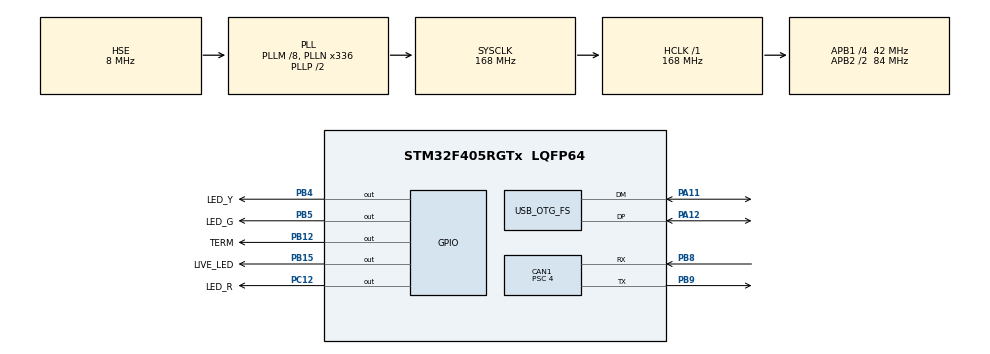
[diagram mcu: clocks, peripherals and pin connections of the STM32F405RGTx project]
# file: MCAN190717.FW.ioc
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CAN1.BS1=CAN_BS1_16TQ
CAN1.BS2=CAN_BS2_4TQ
CAN1.CalculateBaudRate=500000
CAN1.CalculateTimeBit=2000
CAN1.CalculateTimeQuantum=95.23809523809524
CAN1.Prescaler=4
CAN1.SJW=CAN_SJW_3TQ
Mcu.Family=STM32F4
Mcu.Name=STM32F405RGTx
Mcu.Package=LQFP64
NVIC.CAN1_RX0_IRQn=true\:0\:0\:false\:false\:true\:true\:true
NVIC.CAN1_TX_IRQn=true\:0\:0\:false\:false\:true\:true\:true
NVIC.OTG_FS_IRQn=true\:0\:0\:false\:false\:true\:false\:true
NVIC.PriorityGroup=NVIC_PRIORITYGROUP_4
PA11.Mode=Device_Only
PA11.Signal=USB_OTG_FS_DM
PA12.Mode=Device_Only
PA12.Signal=USB_OTG_FS_DP
PA13.Mode=Trace_Asynchronous_SW
PA13.Signal=SYS_JTMS-SWDIO
PA14.Mode=Trace_Asynchronous_SW
PA14.Signal=SYS_JTCK-SWCLK
PB12.GPIO_Label=TERM
PB12.Signal=GPIO_Output
PB15.GPIO_Label=LIVE_LED
PB15.Signal=GPIO_Output
PB3.Mode=Trace_Asynchronous_SW
PB3.Signal=SYS_JTDO-SWO
PB4.GPIO_Label=LED_Y
PB4.Signal=GPIO_Output
PB5.GPIO_Label=LED_G
PB5.Signal=GPIO_Output
PB8.GPIO_Mode=GPIO_MODE_AF_PP
PB8.Mode=CAN_Activate
PB8.Signal=CAN1_RX
PB9.Mode=CAN_Activate
PB9.Signal=CAN1_TX
PC12.GPIO_Label=LED_R
PC12.Signal=GPIO_Output
PH0-OSC_IN.Mode=HSE-External-Oscillator
PH0-OSC_IN.Signal=RCC_OSC_IN
PH1-OSC_OUT.Mode=HSE-External-Oscillator
PH1-OSC_OUT.Signal=RCC_OSC_OUT
ProjectManager.HeapSize=0x200
ProjectManager.StackSize=0x400
ProjectManager.TargetToolchain=STM32CubeIDE
RCC.48MHZClocksFreq_Value=48000000
RCC.AHBFreq_Value=168000000
RCC.APB1CLKDivider=RCC_HCLK_DIV4
RCC.APB1Freq_Value=42000000
RCC.APB1TimFreq_Value=84000000
RCC.APB2CLKDivider=RCC_HCLK_DIV2
RCC.APB2Freq_Value=84000000
RCC.APB2TimFreq_Value=168000000
RCC.CortexFreq_Value=168000000
RCC.HCLKFreq_Value=168000000
RCC.HSE_VALUE=8000000
RCC.HSI_VALUE=16000000
RCC.LSE_VALUE=32768
RCC.PLLM=8
RCC.PLLN=336
RCC.PLLQ=7
RCC.SYSCLKFreq_VALUE=168000000
RCC.SYSCLKSource=RCC_SYSCLKSOURCE_PLLCLK
RCC.VCOOutputFreq_Value=336000000
USB_DEVICE.CLASS_NAME_FS=CDC
USB_DEVICE.USBD_DEBUG_LEVEL-CDC_FS=0
USB_DEVICE.VirtualMode-CDC_FS=Cdc
USB_DEVICE.VirtualModeFS=Cdc_FS
USB_OTG_FS.VirtualMode=Device_Only
VP_USB_DEVICE_VS_USB_DEVICE_CDC_FS.Mode=CDC_FS
board=custom

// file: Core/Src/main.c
/* USER CODE BEGIN Header */
/*
 */
/* USER CODE END Header */
#include "main.h"
#include "usb_device.h"

/* USER CODE BEGIN Includes */
#include <stdio.h>
#include "usb_device.h"
#include "usbd_cdc_if.h"
#include "stringplus.h"

/* USER CODE END Includes */

CAN_HandleTypeDef hcan1;

/* USER CODE BEGIN PV */
LiveLED_HnadleTypeDef LiveLed;
DebugStateTypeDef DebugState;
DeviceTypeDef Device;
LedHandle_Type hLed;
char StringBuffer[80];

/* USER CODE END PV */

void SystemClock_Config(void);
static void MX_GPIO_Init(void);
static void MX_CAN1_Init(void);
/* USER CODE BEGIN PFP */
void LiveLedOff(void);
void LiveLedOn(void);
void DebugTask(DebugStateTypeDef *state);
void DebugPrint(char *str);
void TestMsgSenderTask(void);
void BusTermOn(void);
void BusTermOff(void);
uint8_t CanNetLowLevelTxMailboxIsEmpty(void);
void LedRedOn(void);
void LedRedOff(void);
void LedGreenOn(void);
void LedGreenOff(void);
void LedOrangeOn(void);
void LedOrangeOff(void);
void TestMsgSenderTask(void);
void TimerTester(void);
void TestVcpTask(void);

LedItem_Type LedList[] = {
  { HMI_LED_ORANGE,   &LedOrangeOn,    &LedOrangeOff    },
  { HMI_LED_GREEN,    &LedGreenOn,     &LedGreenOff,    },
  { HMI_LED_RED,      &LedRedOn,       &LedRedOff,      },
};
/* USER CODE END PFP */

/* USER CODE BEGIN 0 */

void TestMsgSenderTask(void)
{
  static int32_t timestamp;
  if(HAL_GetTick() - timestamp >= 1000)
  {
    Device.TestMsgCounter ++;
    CAN_TxHeaderTypeDef   txHeader;
    uint32_t              txMailbox;
    timestamp = HAL_GetTick();
    txHeader.StdId = 0x321;
    txHeader.ExtId = 0xFFFFFFF1;
    txHeader.RTR = CAN_RTR_DATA;
    txHeader.IDE = CAN_ID_EXT;
    txHeader.DLC = 8;
    txHeader.TransmitGlobalTime = DISABLE;
    uint8_t data[8] = {0x01, 0x02, 0x03, 0x04, 0x05, 0x06, 0x7, /*(uint8_t)TickGetMs()*/ 0x08};
    if(HAL_CAN_AddTxMessage(&hcan1, &txHeader, data, &txMailbox) != HAL_OK)
    {
      DeviceErrLog("HAL_CAN_AddTxMessage");
    }
  }
}
/**
  * @brief  TestVcpTask
  */
void TestVcpTask(void)
{
  static int32_t timestamp;
  static int16_t counter = 0;
  char test_sentence[80];
  if(HAL_GetTick() - timestamp >= 1000)
  {
    timestamp = HAL_GetTick();

    if(Device.UART.TxRequest == 0)
    {

      sprintf(test_sentence, "%08d\r\n",counter++);
      strcpy(Device.UART.TxLine,test_sentence);
      Device.UART.TxSize = strlen(test_sentence);
      Device.UART.TxRequest = 1;
      Device.UART.TxCounter++;
    }

    if(Device.UART.RxRequest)
    {
      printf("%s\r\n",Device.UART.RxLine);
      Device.UART.RxRequest = 0;
      Device.UART.TxCounter++;
    }
  }
}

/**
  * @brief  Rx Fifo 0 message pending callback
  */
void HAL_CAN_RxFifo0MsgPendingCallback(CAN_HandleTypeDef *hcan)
{
  CAN_RxHeaderTypeDef   rxHeader;
  uint8_t               data[8];
  if (HAL_CAN_GetRxMessage(hcan, CAN_RX_FIFO0, &rxHeader, data) != HAL_OK)
  {
    DeviceErrLog("HAL_CAN_GetRxMessage");
  }

  if(rxHeader.IDE == CAN_ID_STD)
  {
    CanDbEngReadMsgLowLevel(&Device.CanDbEng,rxHeader.StdId, data, rxHeader.DLC);
    DeviceDbgLog("RxSTD:%08lX %s",rxHeader.StdId,StringPlusDataToHexaString(data, StringBuffer, rxHeader.DLC));
  }
  else
  {
      CanDbEngReadMsgLowLevel(&Device.CanDbEng,rxHeader.ExtId, data, rxHeader.DLC);
      //DeviceDbgLog("RxEXT:%08X %s",rxHeader.ExtId,StringPlusDataToHexaString(data, StringBuffer, rxHeader.DLC));
  }
}

/**
  * @brief  Send CAN Messege
  */
uint8_t CanDbEngWriteMsgLowLevel(uint32_t arbId, uint8_t *data, size_t size)
{
  CAN_TxHeaderTypeDef txHeader;

  txHeader.StdId = arbId;
  txHeader.ExtId = 0x00;
  txHeader.RTR = CAN_RTR_DATA;
  txHeader.IDE = CAN_ID_STD;
  txHeader.DLC = size;
  txHeader.TransmitGlobalTime = DISABLE;
  uint32_t txMailbox;

  if(MSG_ASIC_REGISTER_MAIN == arbId)
  {
    DeviceDbgLog("Tx:%08lX %s",txHeader.StdId,StringPlusDataToHexaString(data, StringBuffer, size));
  }

  if (HAL_CAN_AddTxMessage(&hcan1, &txHeader, data, &txMailbox) != HAL_OK)
    return CANDBENG_FAIL;

  HAL_Delay(10);

  return CANDBENG_OK;
}

/* USER CODE END 0 */

int main(void)
{

  /* MCU Configuration--------------------------------------------------------*/

  /* Reset of all peripherals, Initializes the Flash interface and the Systick. */
  HAL_Init();

  /* Configure the system clock */
  SystemClock_Config();

  /* Initialize all configured peripherals */
  MX_GPIO_Init();
  MX_CAN1_Init();
  MX_USB_DEVICE_Init();
  /* USER CODE BEGIN 2 */
  /* USER CODE BEGIN 2 */
  printf("%s, %s, Init OK.\r\n", "xx", DEVICE_NAME /*DEVICE_FW*/);
  printf("HAL_RCC_GetPCLK2Freq: %dHz\r\n",(int)HAL_RCC_GetPCLK2Freq());
  printf("SystemCoreClock: %dHz\r\n",(int)SystemCoreClock);
  printf("\r\n");

  /*** LiveLed ***/
  LiveLed.LedOffFnPtr = &LiveLedOff;
  LiveLed.LedOnFnPtr = &LiveLedOn;
  LiveLed.HalfPeriodTimeMs = 500;
  LiveLedInit(&LiveLed);

  CanDbEngInit(&Device.CanDbEng,
             NODE_BMS,
             CanDbMessages,
             CanDbGetMessagesCount(),
             CanDbSignals,
             CanDbGetSignalsCount());

  /*** Leds ***/
  hLed.pLedTable = LedList;
  hLed.Records = sizeof(LedList)/sizeof(LedItem_Type);
  LedInit(&hLed);
  LedOn(&hLed, HMI_LED_GREEN);

  /*** BMS Default ***/
  Device.BMS.HEVC_WakeUpSleepCommand = 0x03;
  Device.BMS.ETS_SleepMode = 0x00;
  Device.BMS.LBCPRUNKey = 0x5D;
  Device.BMS.OperatingTypeRequest = 1;
  Device.BMS.IgnitionSupplyConfirmation_HV = 1;
  Device.BMS.PowerRelayState = 3;
  Device.BMS.GADE_HV = 3;
  Device.BMS.SHDN_MCU_ASIC = 0;
  Device.BMS.IMMEDITATE_APPLY = 1;
  Device.BMS.SHDN_MCU_ASIC_SFTY = 0;
  Device.BMS.IMMEDITATE_APPLY_SFTY = 1;
  Device.BMS.ASIC_VCELL_DATA = 0;

  /* USER CODE END 2 */

  /* Infinite loop */
  /* USER CODE BEGIN WHILE */
  while (1)
  {
    LiveLedTask(&LiveLed);
    TestVcpTask();
  //  TestMsgSenderTask();
    CanDbEngTask(&Device.CanDbEng);
    USBD_CDC_Task();
    LedTask(&hLed);
    /* USER CODE END WHILE */

  }
}

void SystemClock_Config(void)
{
  RCC_OscInitTypeDef RCC_OscInitStruct = {0};
  RCC_ClkInitTypeDef RCC_ClkInitStruct = {0};

  /** Configure the main internal regulator output voltage
  */
  __HAL_RCC_PWR_CLK_ENABLE();
  __HAL_PWR_VOLTAGESCALING_CONFIG(PWR_REGULATOR_VOLTAGE_SCALE1);
  /** Initializes the RCC Oscillators according to the specified parameters
  * in the RCC_OscInitTypeDef structure.
  */
  RCC_OscInitStruct.OscillatorType = RCC_OSCILLATORTYPE_HSE;
  RCC_OscInitStruct.HSEState = RCC_HSE_ON;
  RCC_OscInitStruct.PLL.PLLState = RCC_PLL_ON;
  RCC_OscInitStruct.PLL.PLLSource = RCC_PLLSOURCE_HSE;
  RCC_OscInitStruct.PLL.PLLM = 8;
  RCC_OscInitStruct.PLL.PLLN = 336;
  RCC_OscInitStruct.PLL.PLLP = RCC_PLLP_DIV2;
  RCC_OscInitStruct.PLL.PLLQ = 7;
  if (HAL_RCC_OscConfig(&RCC_OscInitStruct) != HAL_OK)
  {
    Error_Handler();
  }
  /** Initializes the CPU, AHB and APB buses clocks
  */
  RCC_ClkInitStruct.ClockType = RCC_CLOCKTYPE_HCLK|RCC_CLOCKTYPE_SYSCLK
                              |RCC_CLOCKTYPE_PCLK1|RCC_CLOCKTYPE_PCLK2;
  RCC_ClkInitStruct.SYSCLKSource = RCC_SYSCLKSOURCE_PLLCLK;
  RCC_ClkInitStruct.AHBCLKDivider = RCC_SYSCLK_DIV1;
  RCC_ClkInitStruct.APB1CLKDivider = RCC_HCLK_DIV4;
  RCC_ClkInitStruct.APB2CLKDivider = RCC_HCLK_DIV2;

  if (HAL_RCC_ClockConfig(&RCC_ClkInitStruct, FLASH_LATENCY_5) != HAL_OK)
  {
    Error_Handler();
  }
}

static void MX_CAN1_Init(void)
{

  /* USER CODE BEGIN CAN1_Init 1 */

  /*
   * Baudrate   BRP  SJW          BS1           BS2
   * 500000,    4,   CAN_SJW_3TQ, CAN_BS1_16TQ, CAN_BS2_4TQ,
   */
  /* USER CODE END CAN1_Init 1 */
  hcan1.Instance = CAN1;
  hcan1.Init.Prescaler = 4;
  hcan1.Init.Mode = CAN_MODE_NORMAL;
  hcan1.Init.SyncJumpWidth = CAN_SJW_3TQ;
  hcan1.Init.TimeSeg1 = CAN_BS1_16TQ;
  hcan1.Init.TimeSeg2 = CAN_BS2_4TQ;
  hcan1.Init.TimeTriggeredMode = DISABLE;
  hcan1.Init.AutoBusOff = DISABLE;
  hcan1.Init.AutoWakeUp = DISABLE;
  hcan1.Init.AutoRetransmission = DISABLE;
  hcan1.Init.ReceiveFifoLocked = DISABLE;
  hcan1.Init.TransmitFifoPriority = DISABLE;
  if (HAL_CAN_Init(&hcan1) != HAL_OK)
  {
    Error_Handler();
  }
  /* USER CODE BEGIN CAN1_Init 2 */

  /*** Filter Init***/
  CAN_FilterTypeDef  sFilterConfig;
  sFilterConfig.FilterBank = 0;
  sFilterConfig.FilterMode = CAN_FILTERMODE_IDMASK;
  sFilterConfig.FilterScale = CAN_FILTERSCALE_32BIT;
  sFilterConfig.FilterIdHigh = 0x0000;
  sFilterConfig.FilterIdLow = 0x0000;
  sFilterConfig.FilterMaskIdHigh = 0x0000;
  sFilterConfig.FilterMaskIdLow = 0x0000;
  sFilterConfig.FilterFIFOAssignment = CAN_RX_FIFO0;
  sFilterConfig.FilterActivation = ENABLE;
  sFilterConfig.SlaveStartFilterBank = 14;

  if(HAL_CAN_ConfigFilter(&hcan1, &sFilterConfig) != HAL_OK)
  {
    DeviceErrLog("HAL_CAN_ConfigFilter");
  }

  /*** Activate CAN RX notification ***/
  if (HAL_CAN_ActivateNotification(&hcan1, CAN_IT_RX_FIFO0_MSG_PENDING) != HAL_OK)
  {
    DeviceErrLog("HAL_CAN_ActivateNotification");
  }

  /*** Bus Termination***/
  BusTermOn();

/*** Start the CAN peripheral ***/
if (HAL_CAN_Start(&hcan1) != HAL_OK)
{
  DeviceErrLog("HAL_CAN_Start");
}
  /* USER CODE END CAN1_Init 2 */

}

static void MX_GPIO_Init(void)
{
  GPIO_InitTypeDef GPIO_InitStruct = {0};

  /* GPIO Ports Clock Enable */
  __HAL_RCC_GPIOH_CLK_ENABLE();
  __HAL_RCC_GPIOB_CLK_ENABLE();
  __HAL_RCC_GPIOA_CLK_ENABLE();
  __HAL_RCC_GPIOC_CLK_ENABLE();

  /*Configure GPIO pin Output Level */
  HAL_GPIO_WritePin(GPIOB, TERM_Pin|LIVE_LED_Pin|LED_Y_Pin|LED_G_Pin, GPIO_PIN_RESET);

  /*Configure GPIO pin Output Level */
  HAL_GPIO_WritePin(LED_R_GPIO_Port, LED_R_Pin, GPIO_PIN_RESET);

  /*Configure GPIO pins : TERM_Pin LIVE_LED_Pin LED_Y_Pin LED_G_Pin */
  GPIO_InitStruct.Pin = TERM_Pin|LIVE_LED_Pin|LED_Y_Pin|LED_G_Pin;
  GPIO_InitStruct.Mode = GPIO_MODE_OUTPUT_PP;
  GPIO_InitStruct.Pull = GPIO_NOPULL;
  GPIO_InitStruct.Speed = GPIO_SPEED_FREQ_LOW;
  HAL_GPIO_Init(GPIOB, &GPIO_InitStruct);

  /*Configure GPIO pin : LED_R_Pin */
  GPIO_InitStruct.Pin = LED_R_Pin;
  GPIO_InitStruct.Mode = GPIO_MODE_OUTPUT_PP;
  GPIO_InitStruct.Pull = GPIO_NOPULL;
  GPIO_InitStruct.Speed = GPIO_SPEED_FREQ_LOW;
  HAL_GPIO_Init(LED_R_GPIO_Port, &GPIO_InitStruct);

}

/* USER CODE BEGIN 4 */
/* printf -------------------------------------------------------------------*/
int _write(int file, char *ptr, int len)
{
  int i=0;
  for(i=0 ; i<len ; i++)
    ITM_SendChar((*ptr++));
  return len;
}

/* LEDs ---------------------------------------------------------------------*/
void LiveLedOn(void)
{
  HAL_GPIO_WritePin(LIVE_LED_GPIO_Port, LIVE_LED_Pin, GPIO_PIN_SET);
}

void LiveLedOff(void)
{
  HAL_GPIO_WritePin(LIVE_LED_GPIO_Port, LIVE_LED_Pin, GPIO_PIN_RESET);
}

void LedRedOn(void)
{
  HAL_GPIO_WritePin(LED_R_GPIO_Port, LED_R_Pin,GPIO_PIN_SET );
}
void LedRedOff(void)
{
  HAL_GPIO_WritePin(LED_R_GPIO_Port, LED_R_Pin, GPIO_PIN_RESET);
}

void LedOrangeOn(void)
{
  HAL_GPIO_WritePin(LED_Y_GPIO_Port, LED_Y_Pin,GPIO_PIN_SET );
}
void LedOrangeOff(void)
{
  HAL_GPIO_WritePin(LED_Y_GPIO_Port, LED_Y_Pin, GPIO_PIN_RESET);
}

void LedGreenOn(void)
{
  HAL_GPIO_WritePin(LED_G_GPIO_Port, LED_G_Pin, GPIO_PIN_SET);
}
void LedGreenOff(void)
{
  HAL_GPIO_WritePin(LED_G_GPIO_Port, LED_G_Pin, GPIO_PIN_RESET);
}

/* TERM ---------------------------------------------------------------------*/
void BusTermOn(void)
{
  HAL_GPIO_WritePin(TERM_GPIO_Port, TERM_Pin, GPIO_PIN_SET);
}
void BusTermOff(void)
{
  HAL_GPIO_WritePin(TERM_GPIO_Port, TERM_Pin, GPIO_PIN_RESET);
}

/* USER CODE END 4 */

void Error_Handler(void)
{
}

/************************ (C) COPYRIGHT STMicroelectronics *****END OF FILE****/
